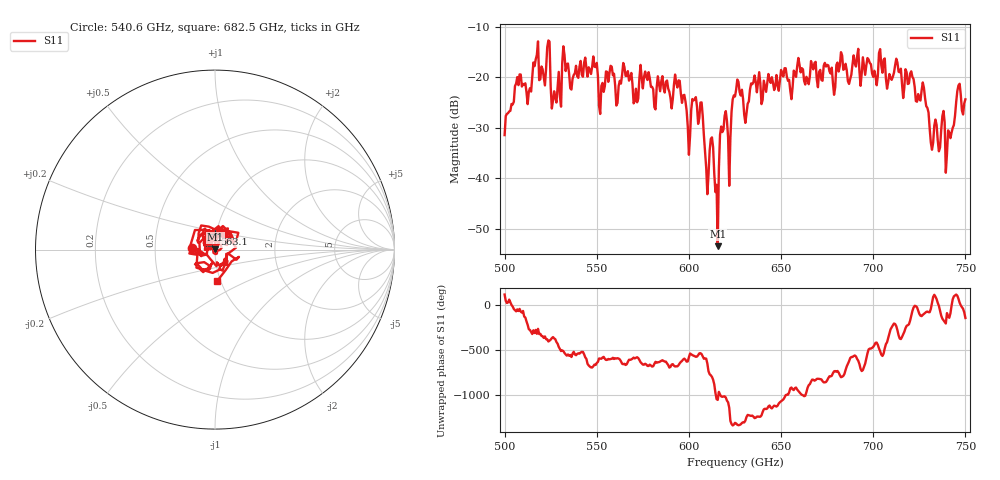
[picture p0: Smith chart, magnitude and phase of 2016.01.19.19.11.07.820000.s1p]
!Created with skrf (http://scikit-rf.org).
# GHz S RI R 50.0
!freq ReS11 ImS11
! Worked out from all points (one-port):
!   401 points, 500 GHz to 750 GHz, reference 50 ohm
!   lowest |S11| = -53.4 dB at 615.6 GHz (marker M1), VSWR 1.00, Z = 50.2 + j0.0747 ohm
!   |S11| at or under -10 dB: start of sweep to end of sweep
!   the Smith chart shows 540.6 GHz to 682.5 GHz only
!   S11 on the Smith chart (normalised r, x): 540.6 GHz: 0.77, +0.01; 563.1 GHz: 0.98, +0.17; 682.5 GHz: 0.96, -0.35
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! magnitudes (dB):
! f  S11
! 500 GHz  -31.5
! 507.5 GHz  -21.6
! 513.1 GHz  -22.9
! 516.9 GHz  -16.5
! 523.8 GHz  -12.7
! 526.9 GHz  -22.8
! 531.2 GHz  -17.2
! 540.6 GHz  -17.9
! 562.5 GHz  -20.7
! 563.1 GHz  -21.3
! 593.8 GHz  -22.0
! 600 GHz  -35.4
! 602.5 GHz  -24.6
! 606.9 GHz  -25.0
! 609.4 GHz  -37.9
! 612.5 GHz  -31.9
! 615.6 GHz  -53.4
! 618.1 GHz  -30.9
! 621.9 GHz  -41.5
! 625 GHz  -23.8
! 631.2 GHz  -27.1
! 656.2 GHz  -22.0
! 682.5 GHz  -15.1
! 687.5 GHz  -20.4
! 718.8 GHz  -21.4
! 740.6 GHz  -30.5
! 746.2 GHz  -21.6
! 750 GHz  -24.4
